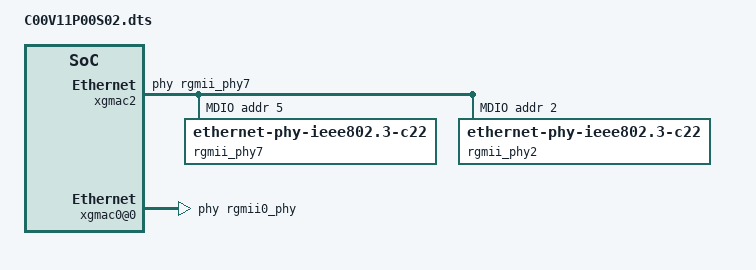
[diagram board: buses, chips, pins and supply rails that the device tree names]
/*A' C00.V11.P00.S02*/
//RGMII0
//RGMII1
//RGMII2
/dts-v1/;
/plugin/;
/ {
	fragment@0 {
		target=<&xgmac2>;
		__overlay__ {
			mode = "rgmii";
			phy-handle = <&rgmii_phy7>;
			rgmii-rx-delay = <1>;
			mdio-flags = <1>;
			status = "okay";
			mdio {
				compatible = "clourney,mdio";
				#address-cells = <1>;
				#size-cells = <0>;
				device_type="mdio";
				status = "okay";
			 	rgmii_phy7: phy@7 {
				compatible = "ethernet-phy-ieee802.3-c22";
				reg = <0x5>;
				};
				rgmii_phy2: phy@2 {
					compatible = "ethernet-phy-ieee802.3-c22";
					reg = <0x2>;
				};
			};
		};
	};

	fragment@1 {
		target=<&xgmac0>;
		__overlay__ {
			status = "disable";
		};
	};

	fragment@2 {
		target=<&npe>;
		#address-cells = <2>;
		#size-cells = <2>;
		ranges;
		__overlay__ {
			xgmac0@0 {
				id = <0>;
				compatible = "clourney,dwmac";
				mode = "rgmii";
				phy-handle = <&rgmii0_phy>;
				rgmii-rx-delay = <1>;
				reg = <0x00 0x53c00000 0x00 0x100000>;
				status = "okay";
			};
		};
	};
};

